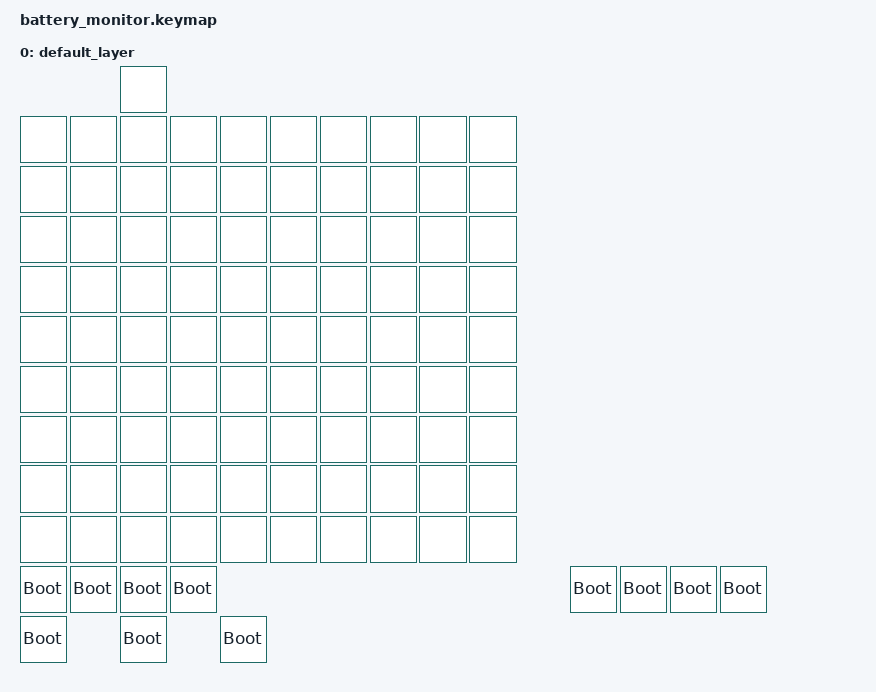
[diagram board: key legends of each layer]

#include <behaviors.dtsi>
#include <dt-bindings/zmk/keys.h>
#include <dt-bindings/zmk/bt.h>

/ {
    keymap {
        compatible = "zmk,keymap";

        default_layer {

            bindings = <
                            &none          
                &none &none &none &none &none  &none &none &none &none &none 
                &none &none &none &none &none  &none &none &none &none &none 
                &none &none &none &none &none  &none &none &none &none &none 
                &none &none &none &none &none  &none &none &none &none &none 
                &none &none &none &none &none  &none &none &none &none &none 
                &none &none &none &none &none  &none &none &none &none &none 
                &none &none &none &none &none  &none &none &none &none &none 
                &none &none &none &none &none  &none &none &none &none &none 
                &none &none &none &none &none  &none &none &none &none &none 
                 &bootloader &bootloader &bootloader &bootloader &bootloader &bootloader &bootloader &bootloader
                &bootloader &bootloader &bootloader
            >;
        };
    };
};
